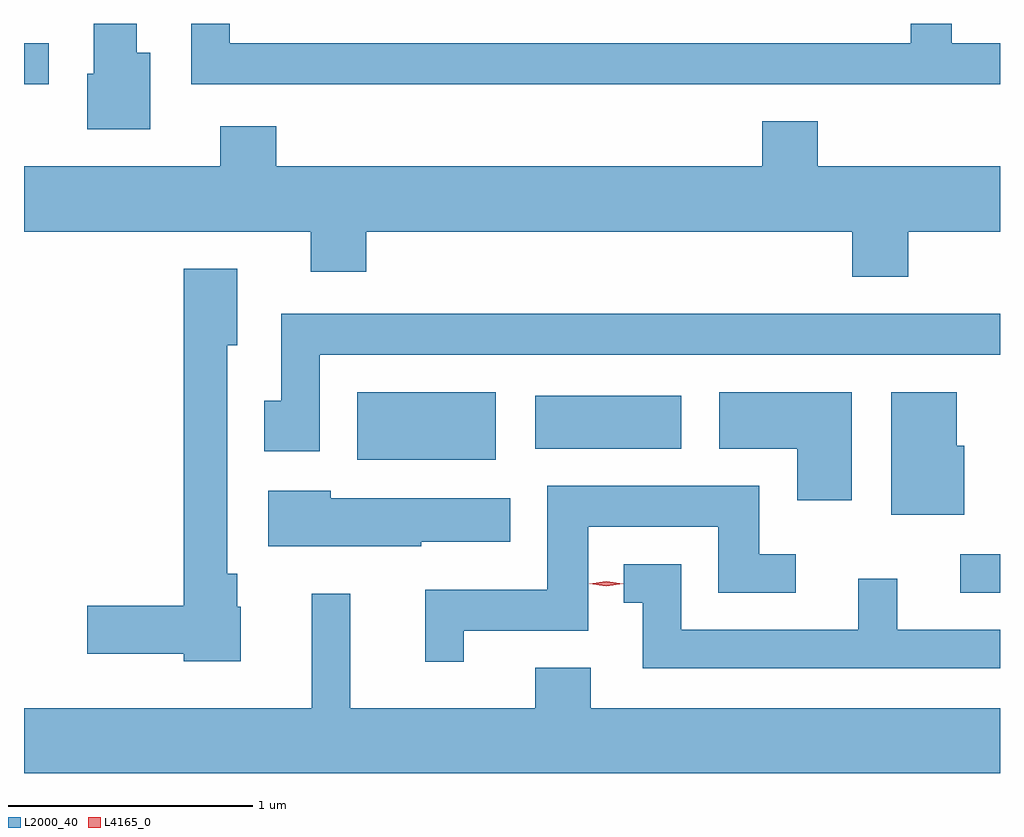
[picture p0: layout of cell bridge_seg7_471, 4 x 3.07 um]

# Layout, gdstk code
import gdstk
lib = gdstk.Library(unit=1e-6, precision=1e-09)
def R(c, l, rs):  # rectangles x0, y0, x1, y1
    for r in rs: c.add(gdstk.rectangle(r[:2], r[2:], *l))
def P(c, l, *ps):  # polygons
    for p in ps: c.add(gdstk.Polygon(p, *l))
L2000_40 = (2000, 40)
L4165_0 = (4165, 0)

bridge_seg7_471 = lib.new_cell('bridge_seg7_471')
R(bridge_seg7_471, L2000_40, [(1453.163,1706.176,1453.326,1706.334), (1450.691,1706.721,1451.259,1706.999), (1451.421,1706.766,1452.019,1706.984), (1449.326,1708.261,1449.428,1708.429)])
P(bridge_seg7_471, L2000_40, [(1449.844,1708.389),(1449.789,1708.389),(1449.789,1708.509),(1449.611,1708.509),(1449.611,1708.304),(1449.586,1708.304),(1449.586,1708.076),(1449.844,1708.076)],
  [(1453.326,1708.429),(1453.129,1708.429),(1453.129,1708.509),(1452.961,1708.509),(1452.961,1708.429),(1450.169,1708.429),(1450.169,1708.509),(1450.011,1708.509),(1450.011,1708.261),(1453.326,1708.261)],
  [(1452.949,1707.656),(1453.326,1707.656),(1453.326,1707.924),(1452.579,1707.924),(1452.579,1708.109),(1452.351,1708.109),(1452.351,1707.924),(1450.359,1707.924),(1450.359,1708.089),(1450.131,1708.089),(1450.131,1707.924),(1449.326,1707.924),(1449.326,1707.656),(1450.501,1707.656),(1450.501,1707.491),(1450.729,1707.491),(1450.729,1707.656),(1452.721,1707.656),(1452.721,1707.471),(1452.949,1707.471)],
  [(1450.214,1706.12),(1450.199,1706.12),(1450.199,1706.254),(1450.159,1706.254),(1450.159,1707.191),(1450.199,1707.191),(1450.199,1707.504),(1449.981,1707.504),(1449.981,1706.124),(1449.586,1706.124),(1449.586,1705.926),(1449.981,1705.926),(1449.981,1705.896),(1450.214,1705.896)],
  [(1450.539,1707.151),(1453.326,1707.151),(1453.326,1707.319),(1450.381,1707.319),(1450.381,1706.964),(1450.311,1706.964),(1450.311,1706.756),(1450.539,1706.756)],
  [(1453.179,1706.779),(1453.149,1706.779),(1453.149,1706.999),(1452.881,1706.999),(1452.881,1706.496),(1453.179,1706.496)],
  [(1452.719,1706.999),(1452.176,1706.999),(1452.176,1706.766),(1452.496,1706.766),(1452.496,1706.556),(1452.719,1706.556)],
  [(1451.129,1706.021),(1451.639,1706.021),(1451.639,1706.446),(1452.171,1706.446),(1452.171,1706.176),(1452.488,1706.176),(1452.488,1706.334),(1452.339,1706.334),(1452.339,1706.614),(1451.471,1706.614),(1451.471,1706.189),(1450.971,1706.189),(1450.971,1705.893),(1451.129,1705.893)],
  [(1450.954,1706.386),(1451.319,1706.386),(1451.319,1706.564),(1450.584,1706.564),(1450.584,1706.594),(1450.326,1706.594),(1450.326,1706.366),(1450.954,1706.366)],
  [(1453.326,1706.024),(1452.904,1706.024),(1452.904,1706.233),(1452.746,1706.233),(1452.746,1706.024),(1452.019,1706.024),(1452.019,1706.294),(1451.783,1706.294),(1451.783,1706.136),(1451.861,1706.136),(1451.861,1705.866),(1453.326,1705.866)],
  [(1453.326,1705.704),(1451.649,1705.704),(1451.649,1705.869),(1451.421,1705.869),(1451.421,1705.704),(1450.664,1705.704),(1450.664,1706.173),(1450.506,1706.173),(1450.506,1705.704),(1449.326,1705.704),(1449.326,1705.436),(1453.326,1705.436)])
P(bridge_seg7_471, L4165_0, [(1451.712,1706.204),(1451.642,1706.213),(1451.642,1706.214),(1451.642,1706.214),(1451.712,1706.224),(1451.781,1706.214),(1451.781,1706.214),(1451.781,1706.213)])

lib.write_gds('bridge_seg7_471.gds')
